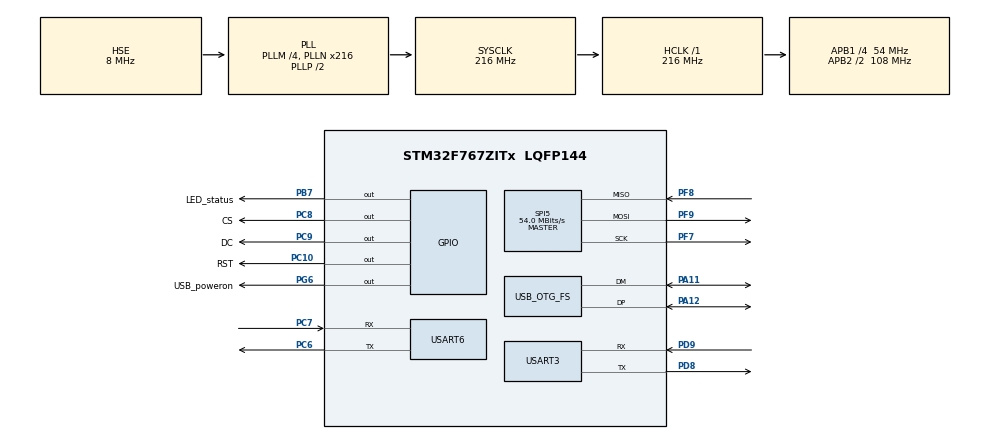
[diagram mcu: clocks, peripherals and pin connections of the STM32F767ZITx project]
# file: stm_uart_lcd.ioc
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Mcu.Family=STM32F7
Mcu.Name=STM32F767ZITx
Mcu.Package=LQFP144
NVIC.OTG_FS_IRQn=true\:0\:0\:false\:false\:true\:false\:true
NVIC.PriorityGroup=NVIC_PRIORITYGROUP_4
PA11.Mode=Host_Only
PA11.Signal=USB_OTG_FS_DM
PA12.Mode=Host_Only
PA12.Signal=USB_OTG_FS_DP
PB7.GPIO_Label=LED_status
PB7.Signal=GPIO_Output
PC10.GPIO_Label=RST
PC10.Signal=GPIO_Output
PC6.Mode=Asynchronous
PC6.Signal=USART6_TX
PC7.Mode=Asynchronous
PC7.Signal=USART6_RX
PC8.GPIO_Label=CS
PC8.GPIO_Speed=GPIO_SPEED_FREQ_LOW
PC8.Signal=GPIO_Output
PC9.GPIO_Label=DC
PC9.GPIO_Speed=GPIO_SPEED_FREQ_LOW
PC9.Signal=GPIO_Output
PD8.Mode=Asynchronous
PD8.Signal=USART3_TX
PD9.Mode=Asynchronous
PD9.Signal=USART3_RX
PF7.Mode=Full_Duplex_Master
PF7.Signal=SPI5_SCK
PF8.Mode=Full_Duplex_Master
PF8.Signal=SPI5_MISO
PF9.Mode=Full_Duplex_Master
PF9.Signal=SPI5_MOSI
PG6.GPIO_Label=USB_poweron
PG6.Signal=GPIO_Output
PH0/OSC_IN.Mode=HSE-External-Clock-Source
PH0/OSC_IN.Signal=RCC_OSC_IN
PH1/OSC_OUT.Mode=HSE-External-Clock-Source
PH1/OSC_OUT.Signal=RCC_OSC_OUT
ProjectManager.HeapSize=0x200
ProjectManager.StackSize=0x400
ProjectManager.TargetToolchain=MDK-ARM V5.27
RCC.AHBFreq_Value=216000000
RCC.APB1CLKDivider=RCC_HCLK_DIV4
RCC.APB1Freq_Value=54000000
RCC.APB1TimFreq_Value=108000000
RCC.APB2CLKDivider=RCC_HCLK_DIV2
RCC.APB2Freq_Value=108000000
RCC.APB2TimFreq_Value=216000000
RCC.CortexFreq_Value=216000000
RCC.HCLKFreq_Value=216000000
RCC.HSE_VALUE=8000000
RCC.HSI_VALUE=16000000
RCC.LSE_VALUE=32768
RCC.PLLM=4
RCC.PLLN=216
RCC.PLLQ=9
RCC.SYSCLKFreq_VALUE=216000000
RCC.SYSCLKSource=RCC_SYSCLKSOURCE_PLLCLK
RCC.USBFreq_Value=48000000
RCC.VCOOutputFreq_Value=432000000
SPI5.CalculateBaudRate=54.0 MBits/s
SPI5.Direction=SPI_DIRECTION_2LINES
SPI5.Mode=SPI_MODE_MASTER
SPI5.VirtualType=VM_MASTER
USART3.VirtualMode-Asynchronous=VM_ASYNC
USART6.VirtualMode-Asynchronous=VM_ASYNC
USB_HOST.BSP.number=1
USB_HOST.USBH_HandleTypeDef-HID_FS=hUsbHostFS
USB_HOST.VirtualModeFS=Hid
USB_HOST0.BSP.STBoard=false
USB_HOST0.BSP.api=Unknown
USB_HOST0.BSP.i2caddr=0
USB_HOST0.BSP.instance=PG6
USB_HOST0.BSP.ip=GPIO
USB_HOST0.BSP.mode=Output
USB_HOST0.BSP.name=Drive_VBUS_FS
USB_HOST0.BSP.solution=PG6
USB_OTG_FS.VirtualMode=Host_Only
USB_OTG_FS.phy_itface=HCD_PHY_EMBEDDED
VP_USB_HOST_VS_USB_HOST_HID_FS.Mode=HID_FS
board=custom

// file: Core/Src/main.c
/* USER CODE BEGIN Header */
/**
  ******************************************************************************
  * @file           : main.c
  * @brief          : Main program body
  ******************************************************************************
  * @attention
  *
  * <h2><center>&copy; Copyright (c) 2021 STMicroelectronics.
  * All rights reserved.</center></h2>
  *
  * This software component is licensed by ST under Ultimate Liberty license
  * SLA0044, the "License"; You may not use this file except in compliance with
  * the License. You may obtain a copy of the License at:
  *                             www.st.com/SLA0044
  *
  ******************************************************************************
  */
/* USER CODE END Header */
#include "main.h"
#include "usb_host.h"

/* USER CODE BEGIN Includes */
#include "stdbool.h"
#include "usbh_hid.h"

/* USER CODE END Includes */

SPI_HandleTypeDef hspi5;

UART_HandleTypeDef huart3;
UART_HandleTypeDef huart6;

/* USER CODE BEGIN PV */

extern HID_KEYBD_Info_TypeDef keybd_info;

/* USER CODE END PV */

void SystemClock_Config(void);
static void MX_GPIO_Init(void);
static void MX_SPI5_Init(void);
static void MX_USART3_UART_Init(void);
static void MX_USART6_UART_Init(void);
void MX_USB_HOST_Process(void);

int main(void)
{

  /* MCU Configuration--------------------------------------------------------*/

  /* Reset of all peripherals, Initializes the Flash interface and the Systick. */
  HAL_Init();

  /* Configure the system clock */
  SystemClock_Config();

  /* Initialize all configured peripherals */
  MX_GPIO_Init();
  MX_SPI5_Init();
  MX_USART3_UART_Init();
  MX_USB_HOST_Init();
  MX_USART6_UART_Init();
  /* USER CODE BEGIN 2 */
	HAL_GPIO_WritePin(LED_status_GPIO_Port, LED_status_Pin, GPIO_PIN_RESET);
	char ttybuf[1024];
	int index = 0;
	bool ignore = false;

  /* USER CODE END 2 */

  /* Infinite loop */
  /* USER CODE BEGIN WHILE */
  while (1)
  {
		//echo
		if(__HAL_UART_GET_FLAG(&huart6, UART_FLAG_RXNE)) {
			while(!__HAL_UART_GET_FLAG(&huart3, UART_FLAG_TXE));
			char input = huart6.Instance->RDR;

			if(index < 1023) {
				ttybuf[index++] = input;
			}

			if(input == 0x1b) {
				ignore = true;
			}

			if(!ignore) {
				if(input >= 0x20 && input <= 0x7f){
					huart3.Instance->TDR = input;
				}
				else if(input == 0x9 || input == 0x9 || input == '\r' || input == '\n' || input == 0x8 ) {
					huart3.Instance->TDR = input;
				}
			}
			else
			{
				if(input >= 0x30 && input <= 0x7f){
					ignore = false;
				}
			}

		}

		if(__HAL_UART_GET_FLAG(&huart3, UART_FLAG_RXNE)) {
			while(!__HAL_UART_GET_FLAG(&huart6, UART_FLAG_TXE));
			huart6.Instance->TDR = huart3.Instance->RDR;
		}
    /* USER CODE END WHILE */
    MX_USB_HOST_Process();

  }
}
// 20 1b 37 0d 0d 0a
// 'space' 'escape' '7' '\r' '\r' '\n'
void SystemClock_Config(void)
{
  RCC_OscInitTypeDef RCC_OscInitStruct = {0};
  RCC_ClkInitTypeDef RCC_ClkInitStruct = {0};
  RCC_PeriphCLKInitTypeDef PeriphClkInitStruct = {0};

  /** Configure the main internal regulator output voltage
  */
  __HAL_RCC_PWR_CLK_ENABLE();
  __HAL_PWR_VOLTAGESCALING_CONFIG(PWR_REGULATOR_VOLTAGE_SCALE1);
  /** Initializes the RCC Oscillators according to the specified parameters
  * in the RCC_OscInitTypeDef structure.
  */
  RCC_OscInitStruct.OscillatorType = RCC_OSCILLATORTYPE_HSE;
  RCC_OscInitStruct.HSEState = RCC_HSE_BYPASS;
  RCC_OscInitStruct.PLL.PLLState = RCC_PLL_ON;
  RCC_OscInitStruct.PLL.PLLSource = RCC_PLLSOURCE_HSE;
  RCC_OscInitStruct.PLL.PLLM = 4;
  RCC_OscInitStruct.PLL.PLLN = 216;
  RCC_OscInitStruct.PLL.PLLP = RCC_PLLP_DIV2;
  RCC_OscInitStruct.PLL.PLLQ = 9;
  if (HAL_RCC_OscConfig(&RCC_OscInitStruct) != HAL_OK)
  {
    Error_Handler();
  }
  /** Activate the Over-Drive mode
  */
  if (HAL_PWREx_EnableOverDrive() != HAL_OK)
  {
    Error_Handler();
  }
  /** Initializes the CPU, AHB and APB buses clocks
  */
  RCC_ClkInitStruct.ClockType = RCC_CLOCKTYPE_HCLK|RCC_CLOCKTYPE_SYSCLK
                              |RCC_CLOCKTYPE_PCLK1|RCC_CLOCKTYPE_PCLK2;
  RCC_ClkInitStruct.SYSCLKSource = RCC_SYSCLKSOURCE_PLLCLK;
  RCC_ClkInitStruct.AHBCLKDivider = RCC_SYSCLK_DIV1;
  RCC_ClkInitStruct.APB1CLKDivider = RCC_HCLK_DIV4;
  RCC_ClkInitStruct.APB2CLKDivider = RCC_HCLK_DIV2;

  if (HAL_RCC_ClockConfig(&RCC_ClkInitStruct, FLASH_LATENCY_7) != HAL_OK)
  {
    Error_Handler();
  }
  PeriphClkInitStruct.PeriphClockSelection = RCC_PERIPHCLK_USART3|RCC_PERIPHCLK_USART6
                              |RCC_PERIPHCLK_CLK48;
  PeriphClkInitStruct.Usart3ClockSelection = RCC_USART3CLKSOURCE_PCLK1;
  PeriphClkInitStruct.Usart6ClockSelection = RCC_USART6CLKSOURCE_PCLK2;
  PeriphClkInitStruct.Clk48ClockSelection = RCC_CLK48SOURCE_PLL;
  if (HAL_RCCEx_PeriphCLKConfig(&PeriphClkInitStruct) != HAL_OK)
  {
    Error_Handler();
  }
}

static void MX_SPI5_Init(void)
{

  /* SPI5 parameter configuration*/
  hspi5.Instance = SPI5;
  hspi5.Init.Mode = SPI_MODE_MASTER;
  hspi5.Init.Direction = SPI_DIRECTION_2LINES;
  hspi5.Init.DataSize = SPI_DATASIZE_4BIT;
  hspi5.Init.CLKPolarity = SPI_POLARITY_LOW;
  hspi5.Init.CLKPhase = SPI_PHASE_1EDGE;
  hspi5.Init.NSS = SPI_NSS_SOFT;
  hspi5.Init.BaudRatePrescaler = SPI_BAUDRATEPRESCALER_2;
  hspi5.Init.FirstBit = SPI_FIRSTBIT_MSB;
  hspi5.Init.TIMode = SPI_TIMODE_DISABLE;
  hspi5.Init.CRCCalculation = SPI_CRCCALCULATION_DISABLE;
  hspi5.Init.CRCPolynomial = 7;
  hspi5.Init.CRCLength = SPI_CRC_LENGTH_DATASIZE;
  hspi5.Init.NSSPMode = SPI_NSS_PULSE_ENABLE;
  if (HAL_SPI_Init(&hspi5) != HAL_OK)
  {
    Error_Handler();
  }

}

static void MX_USART3_UART_Init(void)
{

  huart3.Instance = USART3;
  huart3.Init.BaudRate = 115200;
  huart3.Init.WordLength = UART_WORDLENGTH_8B;
  huart3.Init.StopBits = UART_STOPBITS_1;
  huart3.Init.Parity = UART_PARITY_NONE;
  huart3.Init.Mode = UART_MODE_TX_RX;
  huart3.Init.HwFlowCtl = UART_HWCONTROL_NONE;
  huart3.Init.OverSampling = UART_OVERSAMPLING_16;
  huart3.Init.OneBitSampling = UART_ONE_BIT_SAMPLE_DISABLE;
  huart3.AdvancedInit.AdvFeatureInit = UART_ADVFEATURE_NO_INIT;
  if (HAL_UART_Init(&huart3) != HAL_OK)
  {
    Error_Handler();
  }

}

static void MX_USART6_UART_Init(void)
{

  huart6.Instance = USART6;
  huart6.Init.BaudRate = 115200;
  huart6.Init.WordLength = UART_WORDLENGTH_8B;
  huart6.Init.StopBits = UART_STOPBITS_1;
  huart6.Init.Parity = UART_PARITY_NONE;
  huart6.Init.Mode = UART_MODE_TX_RX;
  huart6.Init.HwFlowCtl = UART_HWCONTROL_NONE;
  huart6.Init.OverSampling = UART_OVERSAMPLING_16;
  huart6.Init.OneBitSampling = UART_ONE_BIT_SAMPLE_DISABLE;
  huart6.AdvancedInit.AdvFeatureInit = UART_ADVFEATURE_NO_INIT;
  if (HAL_UART_Init(&huart6) != HAL_OK)
  {
    Error_Handler();
  }

}

static void MX_GPIO_Init(void)
{
  GPIO_InitTypeDef GPIO_InitStruct = {0};

  /* GPIO Ports Clock Enable */
  __HAL_RCC_GPIOF_CLK_ENABLE();
  __HAL_RCC_GPIOH_CLK_ENABLE();
  __HAL_RCC_GPIOD_CLK_ENABLE();
  __HAL_RCC_GPIOG_CLK_ENABLE();
  __HAL_RCC_GPIOC_CLK_ENABLE();
  __HAL_RCC_GPIOA_CLK_ENABLE();
  __HAL_RCC_GPIOB_CLK_ENABLE();

  /*Configure GPIO pin Output Level */
  HAL_GPIO_WritePin(USB_poweron_GPIO_Port, USB_poweron_Pin, GPIO_PIN_RESET);

  /*Configure GPIO pin Output Level */
  HAL_GPIO_WritePin(GPIOC, CS_Pin|DC_Pin|RST_Pin, GPIO_PIN_RESET);

  /*Configure GPIO pin Output Level */
  HAL_GPIO_WritePin(LED_status_GPIO_Port, LED_status_Pin, GPIO_PIN_RESET);

  /*Configure GPIO pin : USB_poweron_Pin */
  GPIO_InitStruct.Pin = USB_poweron_Pin;
  GPIO_InitStruct.Mode = GPIO_MODE_OUTPUT_PP;
  GPIO_InitStruct.Pull = GPIO_NOPULL;
  GPIO_InitStruct.Speed = GPIO_SPEED_FREQ_LOW;
  HAL_GPIO_Init(USB_poweron_GPIO_Port, &GPIO_InitStruct);

  /*Configure GPIO pins : CS_Pin DC_Pin RST_Pin */
  GPIO_InitStruct.Pin = CS_Pin|DC_Pin|RST_Pin;
  GPIO_InitStruct.Mode = GPIO_MODE_OUTPUT_PP;
  GPIO_InitStruct.Pull = GPIO_NOPULL;
  GPIO_InitStruct.Speed = GPIO_SPEED_FREQ_LOW;
  HAL_GPIO_Init(GPIOC, &GPIO_InitStruct);

  /*Configure GPIO pin : LED_status_Pin */
  GPIO_InitStruct.Pin = LED_status_Pin;
  GPIO_InitStruct.Mode = GPIO_MODE_OUTPUT_PP;
  GPIO_InitStruct.Pull = GPIO_NOPULL;
  GPIO_InitStruct.Speed = GPIO_SPEED_FREQ_LOW;
  HAL_GPIO_Init(LED_status_GPIO_Port, &GPIO_InitStruct);

}

/* USER CODE BEGIN 4 */

void USBH_HID_EventCallback(USBH_HandleTypeDef *phost)
{
	HAL_GPIO_WritePin(LED_status_GPIO_Port, LED_status_Pin, GPIO_PIN_SET);

  HID_HandleTypeDef *HID_handle = (HID_HandleTypeDef*) phost->pActiveClass->pData;

	if(HID_handle->Init == USBH_HID_KeybdInit) {
		USBH_HID_GetKeybdInfo(phost);

		printf("Pressed key: %d\n", keybd_info.keys[0]);

	}

}

/* USER CODE END 4 */

void Error_Handler(void)
{
  __disable_irq();
  while (1)
  {
  }
}

/************************ (C) COPYRIGHT STMicroelectronics *****END OF FILE****/
